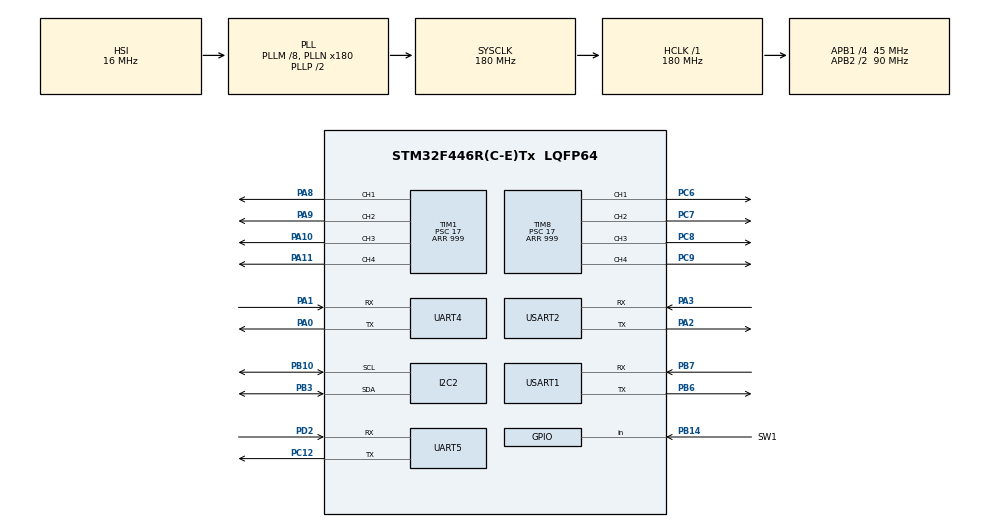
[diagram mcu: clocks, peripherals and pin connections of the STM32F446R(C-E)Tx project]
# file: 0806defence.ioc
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Mcu.Family=STM32F4
Mcu.Name=STM32F446R(C-E)Tx
Mcu.Package=LQFP64
NVIC.PriorityGroup=NVIC_PRIORITYGROUP_4
NVIC.TIM1_BRK_TIM9_IRQn=true\:0\:0\:false\:false\:true\:true\:true\:true
NVIC.TIM1_CC_IRQn=true\:0\:0\:false\:false\:true\:true\:true\:true
NVIC.TIM1_TRG_COM_TIM11_IRQn=true\:0\:0\:false\:false\:true\:true\:true\:true
NVIC.TIM1_UP_TIM10_IRQn=true\:0\:0\:false\:false\:true\:true\:true\:true
NVIC.TIM8_BRK_TIM12_IRQn=true\:0\:0\:false\:false\:true\:true\:true\:true
NVIC.TIM8_CC_IRQn=true\:0\:0\:false\:false\:true\:true\:true\:true
NVIC.TIM8_TRG_COM_TIM14_IRQn=true\:0\:0\:false\:false\:true\:true\:true\:true
NVIC.TIM8_UP_TIM13_IRQn=true\:0\:0\:false\:false\:true\:true\:true\:true
NVIC.UART4_IRQn=true\:0\:0\:false\:false\:true\:true\:true\:true
NVIC.UART5_IRQn=true\:0\:0\:false\:false\:true\:true\:true\:true
NVIC.USART1_IRQn=true\:0\:0\:false\:false\:true\:true\:true\:true
NVIC.USART2_IRQn=true\:0\:0\:false\:false\:true\:true\:true\:true
PA0-WKUP.Mode=Asynchronous
PA0-WKUP.Signal=UART4_TX
PA1.Mode=Asynchronous
PA1.Signal=UART4_RX
PA10.Signal=S_TIM1_CH3
PA11.Signal=S_TIM1_CH4
PA2.Mode=Asynchronous
PA2.Signal=USART2_TX
PA3.Mode=Asynchronous
PA3.Signal=USART2_RX
PA8.Signal=S_TIM1_CH1
PA9.Signal=S_TIM1_CH2
PB10.Mode=I2C
PB10.Signal=I2C2_SCL
PB14.GPIO_Label=SW1
PB14.Signal=GPIO_Input
PB3.Mode=I2C
PB3.Signal=I2C2_SDA
PB6.Mode=Asynchronous
PB6.Signal=USART1_TX
PB7.Mode=Asynchronous
PB7.Signal=USART1_RX
PC12.Mode=Asynchronous
PC12.Signal=UART5_TX
PC6.Signal=S_TIM8_CH1
PC7.Signal=S_TIM8_CH2
PC8.Signal=S_TIM8_CH3
PC9.Signal=S_TIM8_CH4
PD2.Mode=Asynchronous
PD2.Signal=UART5_RX
ProjectManager.HeapSize=0x200
ProjectManager.StackSize=0x400
ProjectManager.TargetToolchain=STM32CubeIDE
RCC.AHBFreq_Value=180000000
RCC.APB1CLKDivider=RCC_HCLK_DIV4
RCC.APB1Freq_Value=45000000
RCC.APB1TimFreq_Value=90000000
RCC.APB2CLKDivider=RCC_HCLK_DIV2
RCC.APB2Freq_Value=90000000
RCC.APB2TimFreq_Value=180000000
RCC.CortexFreq_Value=180000000
RCC.HCLKFreq_Value=180000000
RCC.PLLM=8
RCC.PLLN=180
RCC.SYSCLKFreq_VALUE=180000000
RCC.SYSCLKSource=RCC_SYSCLKSOURCE_PLLCLK
RCC.USBFreq_Value=180000000
RCC.VCOOutputFreq_Value=360000000
SH.S_TIM1_CH1.0=TIM1_CH1,PWM Generation1 CH1
SH.S_TIM1_CH2.0=TIM1_CH2,PWM Generation2 CH2
SH.S_TIM1_CH3.0=TIM1_CH3,PWM Generation3 CH3
SH.S_TIM1_CH4.0=TIM1_CH4,PWM Generation4 CH4
SH.S_TIM8_CH1.0=TIM8_CH1,PWM Generation1 CH1
SH.S_TIM8_CH2.0=TIM8_CH2,PWM Generation2 CH2
SH.S_TIM8_CH3.0=TIM8_CH3,PWM Generation3 CH3
SH.S_TIM8_CH4.0=TIM8_CH4,PWM Generation4 CH4
TIM1.Channel-PWM\ Generation1\ CH1=TIM_CHANNEL_1
TIM1.Channel-PWM\ Generation2\ CH2=TIM_CHANNEL_2
TIM1.Channel-PWM\ Generation3\ CH3=TIM_CHANNEL_3
TIM1.Channel-PWM\ Generation4\ CH4=TIM_CHANNEL_4
TIM1.OC1Preload_PWM=ENABLE
TIM1.Period=999
TIM1.Prescaler=17
TIM8.Channel-PWM\ Generation1\ CH1=TIM_CHANNEL_1
TIM8.Channel-PWM\ Generation2\ CH2=TIM_CHANNEL_2
TIM8.Channel-PWM\ Generation3\ CH3=TIM_CHANNEL_3
TIM8.Channel-PWM\ Generation4\ CH4=TIM_CHANNEL_4
TIM8.Period=999
TIM8.Prescaler=17
UART4.VirtualMode=Asynchronous
UART5.VirtualMode=Asynchronous
USART1.VirtualMode=VM_ASYNC
USART2.VirtualMode=VM_ASYNC
VP_TIM1_VS_ClockSourceINT.Mode=Internal
VP_TIM8_VS_ClockSourceINT.Mode=Internal
board=custom

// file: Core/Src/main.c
/* USER CODE BEGIN Header */
/**
  ******************************************************************************
  * @file           : main.c
  * @brief          : Main program body (Auto-Calibration & Fast Loop Version)
  ******************************************************************************
  */
/* USER CODE END Header */
#include "main.h"

/* USER CODE BEGIN Includes */
#include <stdio.h>  // 💡 これが不足していたため snprintf でフリーズしていました
#include <math.h>
#include <string.h>
#include <stdlib.h>
#include "motor.h"
#include "sensor.h"
#include "defense.h"
/* USER CODE END Includes */

I2C_HandleTypeDef hi2c2;

TIM_HandleTypeDef htim1;
TIM_HandleTypeDef htim8;

UART_HandleTypeDef huart4;
UART_HandleTypeDef huart5;
UART_HandleTypeDef huart1;
UART_HandleTypeDef huart2;

/* USER CODE BEGIN PV */
uint8_t sw_running = 0; // 0:停止(デバッグ出力あり), 1:動作中(デバッグ出力なし)
static uint8_t sw_prev    = 0;

//volatile uint8_t  line_detected_count = 0;

// センサーファイル(sensor.c)から参照する外部変数
extern volatile uint8_t  line_calib_state;
extern volatile float    ball_angle;
extern volatile float    ball_strength;
extern volatile uint8_t  line_on_line;
extern volatile float    line_angle;
extern volatile uint16_t line_sensor_bits;
extern volatile uint8_t  goal_blue_detected;
extern volatile float    goal_blue_angle;
extern volatile uint8_t  goal_yellow_detected;
extern volatile float    goal_yellow_angle;

extern volatile uint8_t  line_cluster_count;
extern volatile float    line_cluster_angle[2];
extern volatile uint8_t  line_cluster_side[2];

extern volatile float    line_primary_angle;
extern volatile uint8_t  line_is_transitioning;
extern volatile uint8_t  line_was_transitioning;  // 💡追加：sticky版
extern volatile uint16_t line_packet_count;       // 💡追加：100ms間の実パケット受信数
/* USER CODE END PV */

void SystemClock_Config(void);
static void MX_GPIO_Init(void);
static void MX_TIM1_Init(void);
static void MX_TIM8_Init(void);
static void MX_UART4_Init(void);
static void MX_USART1_UART_Init(void);
static void MX_I2C2_Init(void);
static void MX_UART5_Init(void);
static void MX_USART2_UART_Init(void);
/* USER CODE BEGIN PFP */
void BNO055_Init(void);
void Sensor_InitYawOffset(void);
void Sensor_Update(void);
float Sensor_GetOmega(float goal_angle, uint8_t goal_detected);
void Defense_Update(float omega);
void Omni_Drive(float angle, float speed, float omega);
float BNO055_GetYaw(void);
void Sensor_ResetYawOnly(void);
void Sensor_ResumeLineRx(void);
/* USER CODE END PFP */

int main(void)
{

  /* MCU Configuration--------------------------------------------------------*/

  /* Reset of all peripherals, Initializes the Flash interface and the Systick. */
  HAL_Init();

  /* Configure the system clock */
  SystemClock_Config();

  /* Initialize all configured peripherals */
  MX_GPIO_Init();
  MX_TIM1_Init();
  MX_TIM8_Init();
  MX_UART4_Init();
  MX_USART1_UART_Init();
  MX_I2C2_Init();
  MX_UART5_Init();
  MX_USART2_UART_Init();
  /* USER CODE BEGIN 2 */
    HAL_TIM_PWM_Start(&htim1, TIM_CHANNEL_1);
    HAL_TIM_PWM_Start(&htim1, TIM_CHANNEL_2);
    HAL_TIM_PWM_Start(&htim1, TIM_CHANNEL_3);
    HAL_TIM_PWM_Start(&htim1, TIM_CHANNEL_4);
    HAL_TIM_PWM_Start(&htim8, TIM_CHANNEL_1);
    HAL_TIM_PWM_Start(&htim8, TIM_CHANNEL_2);
    HAL_TIM_PWM_Start(&htim8, TIM_CHANNEL_3);
    HAL_TIM_PWM_Start(&htim8, TIM_CHANNEL_4);

    BNO055_Init();
    Sensor_InitYawOffset();

    // 起動時にボタン(PB14)が押されていたら自動調整を開始
    if (HAL_GPIO_ReadPin(GPIOB, GPIO_PIN_14) == GPIO_PIN_SET)
    {
        HAL_UART_Transmit(&huart4, (uint8_t*)">> STARTING MULTI-CALIBRATION <<\r\n", 35, 100);

        uint32_t last_log = 0;
        uint32_t sync_timeout = 0;

        // フェーズ1：黒面サンプリング
        HAL_UART_Transmit(&huart4, (uint8_t*)"[PHASE 1] Sampling BLACK... Keep on Black Floor.\r\n", 50, 100);
        HAL_UART_Transmit(&huart2, (uint8_t*)"CALIB AUTO BLACK\n", 17, 10);

        sync_timeout = HAL_GetTick();
        while (line_calib_state != 1)
        {
            Sensor_Update();
            if (HAL_GetTick() - sync_timeout > 1000) {
                HAL_UART_Transmit(&huart2, (uint8_t*)"CALIB AUTO BLACK\n", 17, 10);
                Sensor_ResumeLineRx();
                sync_timeout = HAL_GetTick();
            }
            HAL_Delay(5);
        }

        last_log = 0;
        while (line_calib_state == 1 || line_calib_state == 0)
        {
            Omni_Drive(0.0f, 0.0f, 0.0f);
            Sensor_ResetYawOnly();
            Sensor_Update();

            uint32_t current_time = HAL_GetTick();
            if (current_time - last_log > 500) {
                last_log = current_time;
                char lmsg[128];
                snprintf(lmsg, sizeof(lmsg), "... Line Sensor Sampling BLACK (State: %d) ...\r\n", line_calib_state);
                HAL_UART_Transmit(&huart4, (uint8_t*)lmsg, strlen(lmsg), 100);
            }
            HAL_Delay(5);
        }

        // フェーズ2：移動猶予（ロボットを白線へ）
        HAL_UART_Transmit(&huart4, (uint8_t*)"[PHASE 2] BLACK Done! -> MOVE TO WHITE LINE NOW.\r\n", 50, 100);
        HAL_UART_Transmit(&huart4, (uint8_t*)"👉 Press Button AGAIN when robot is on White Line! 👈\r\n", 57, 100);

        HAL_Delay(300);
        while (HAL_GPIO_ReadPin(GPIOB, GPIO_PIN_14) == GPIO_PIN_SET) {
            Sensor_Update();
            HAL_Delay(10);
        }

        last_log = 0;
        uint8_t white_triggered = 0;

        while (line_calib_state == 2)
        {
            Omni_Drive(0.0f, 0.0f, 0.0f);
            Sensor_Update();

            uint32_t current_time = HAL_GetTick();

            if (HAL_GPIO_ReadPin(GPIOB, GPIO_PIN_14) == GPIO_PIN_SET && !white_triggered)
            {
                HAL_Delay(50);
                if (HAL_GPIO_ReadPin(GPIOB, GPIO_PIN_14) == GPIO_PIN_SET)
                {
                    HAL_UART_Transmit(&huart2, (uint8_t*)"CALIB AUTO WHITE\n", 17, 10);
                    HAL_UART_Transmit(&huart4, (uint8_t*)"[MAIN] Sent CALIB AUTO WHITE! Waiting for Link...\r\n", 51, 100);
                    white_triggered = 1;

                    sync_timeout = HAL_GetTick();
                    while (line_calib_state != 3)
                    {
                        Sensor_Update();
                        if (HAL_GetTick() - sync_timeout > 1000) {
                            HAL_UART_Transmit(&huart2, (uint8_t*)"CALIB AUTO WHITE\n", 17, 10);
                            Sensor_ResumeLineRx();
                            sync_timeout = HAL_GetTick();
                        }
                        HAL_Delay(5);
                    }
                }
            }

            if (current_time - last_log > 500 && !white_triggered) {
                last_log = current_time;
                char lmsg[128];
                snprintf(lmsg, sizeof(lmsg), "... Waiting WHITE Trigger (State: %d) ...\r\n", line_calib_state);
                HAL_UART_Transmit(&huart4, (uint8_t*)lmsg, strlen(lmsg), 100);
            }
            HAL_Delay(5);
        }

        // フェーズ3：白線サンプリング
        HAL_UART_Transmit(&huart4, (uint8_t*)"[PHASE 3] Sampling WHITE... Keep Robot Still!\r\n", 48, 100);

        last_log = 0;
        while (line_calib_state == 3)
        {
            Omni_Drive(0.0f, 0.0f, 0.0f);
            Sensor_Update();

            uint32_t current_time = HAL_GetTick();
            if (current_time - last_log > 500) {
                last_log = current_time;
                char lmsg[128];
                snprintf(lmsg, sizeof(lmsg), "... Line Sensor Sampling WHITE (State: %d) ...\r\n", line_calib_state);
                HAL_UART_Transmit(&huart4, (uint8_t*)lmsg, strlen(lmsg), 100);
            }
            HAL_Delay(5);
        }

        HAL_UART_Transmit(&huart2, (uint8_t*)"CALIB SAVE\n", 11, 10);
        HAL_Delay(200);

        HAL_UART_Transmit(&huart4, (uint8_t*)">> All Calibrations Successfully Saved! <<\r\n", 44, 100);

        HAL_Delay(500);
        sw_prev = 0;
        sw_running = 0;
    }

    // 受信開始処理とデバッグタイマー初期化
    Sensor_ResumeLineRx();
    uint32_t last_debug_tick = 0;
  /* USER CODE END 2 */

    /* Infinite loop */
      /* USER CODE BEGIN WHILE */
          while (1)
          {
                // 🚨【重要】文字化けノイズによるUARTフリーズを強制解除する処理
                if (__HAL_UART_GET_FLAG(&huart4, UART_FLAG_ORE) != RESET) {
                    __HAL_UART_CLEAR_OREFLAG(&huart4);
                }
                if (__HAL_UART_GET_FLAG(&huart2, UART_FLAG_ORE) != RESET) {
                    __HAL_UART_CLEAR_OREFLAG(&huart2);
                }

                // 1. スイッチのチャタリング防止とモード切替
                uint8_t sw_state = HAL_GPIO_ReadPin(GPIOB, GPIO_PIN_14);
                if (sw_state == GPIO_PIN_SET && sw_prev == GPIO_PIN_RESET)
                {
                    HAL_Delay(50);
                    if (HAL_GPIO_ReadPin(GPIOB, GPIO_PIN_14) == GPIO_PIN_SET)
                    {
                        sw_running = !sw_running;

                        char sw_msg[64];
                        snprintf(sw_msg, sizeof(sw_msg), ">>> MODE CHANGED: %s <<<\r\n", sw_running ? "RUN" : "STOP");
                        HAL_UART_Transmit(&huart4, (uint8_t*)sw_msg, strlen(sw_msg), 100);
                    }
                }
                sw_prev = sw_state;

                // 2. センサー値の更新
                Sensor_Update();

                // 3. 姿勢制御 omega の計算
                // キーパーは常にフィールド正面（起動時のヨー基準）を向き続ける
                float omega = Sensor_GetOmega(0.0f, 1);

                // 4. モーターへの出力命令
                if (sw_running == 1)
                {
                    Defense_Update(omega);
                }
                else
                {
                    Omni_Drive(0.0f, 0.0f, 0.0f);
                }

                // 5. 100ms周期でデバッグ出力を実行（RUN/STOP両方で出す）
                {
                    uint32_t current_tick = HAL_GetTick();
                    if (current_tick - last_debug_tick >= 100)
                    {
                        last_debug_tick = current_tick;
                        char tx_out[256];
                        int len = 0;

                        float gyro_yaw = BNO055_GetYaw();

                        // 💡 IRセンサ表示の整形（非検知時は 0.0 と明示）
                        char ir_ang_str[8];
                        char ir_str_str[8];
                        if (ball_detected) {
                            snprintf(ir_ang_str, sizeof(ir_ang_str), "%6.1f", ball_angle);
                            snprintf(ir_str_str, sizeof(ir_str_str), "%5.1f", ball_strength);
                        } else {
                            snprintf(ir_ang_str, sizeof(ir_ang_str), "   0.0");
                            snprintf(ir_str_str, sizeof(ir_str_str), "  0.0");
                        }

                        char line_ang_str[8];
                        if (line_on_line) {
                            snprintf(line_ang_str, sizeof(line_ang_str), "%6.1f", line_angle);
                        } else {
                            snprintf(line_ang_str, sizeof(line_ang_str), "  NONE");
                        }

                        char line_bits_str[17];
                        for (int i = 0; i < 16; i++) {
                            line_bits_str[i] = (line_sensor_bits & (1u << i)) ? '1' : '0';
                        }
                        line_bits_str[16] = '\0';

                        len += snprintf(tx_out + len, sizeof(tx_out) - len,
                                                                "[%s] IR_Ang:%s | IR_Str:%s | Yaw:%6.1f | Line_Ang:%s | Line:[%s] | Prim:%6.1f Trans:%u TransSticky:%u Pkts:%u\r\n",
                                                                sw_running ? "RUN  " : "STOP ",
                                                                ir_ang_str, ir_str_str, gyro_yaw, line_ang_str, line_bits_str,
                                                                line_primary_angle, line_is_transitioning,
                                                                line_was_transitioning, line_packet_count);

                        HAL_UART_Transmit(&huart4, (uint8_t *)tx_out, len, 100);

                        // 💡【追加】次の100ms区間の計測のためにリセット
                        line_was_transitioning = 0;
                        line_packet_count      = 0;
                    }
                }

                // 💡【重要】センサーICのフリーズを防ぐため、最低限の休憩を挟む
                HAL_Delay(5);
          }
        /* USER CODE END WHILE */

  }

void SystemClock_Config(void)
{
  RCC_OscInitTypeDef RCC_OscInitStruct = {0};
  RCC_ClkInitTypeDef RCC_ClkInitStruct = {0};

  /** Configure the main internal regulator output voltage
  */
  __HAL_RCC_PWR_CLK_ENABLE();
  __HAL_PWR_VOLTAGESCALING_CONFIG(PWR_REGULATOR_VOLTAGE_SCALE1);

  /** Initializes the RCC Oscillators according to the specified parameters
  * in the RCC_OscInitTypeDef structure.
  */
  RCC_OscInitStruct.OscillatorType = RCC_OSCILLATORTYPE_HSI;
  RCC_OscInitStruct.HSIState = RCC_HSI_ON;
  RCC_OscInitStruct.HSICalibrationValue = RCC_HSICALIBRATION_DEFAULT;
  RCC_OscInitStruct.PLL.PLLState = RCC_PLL_ON;
  RCC_OscInitStruct.PLL.PLLSource = RCC_PLLSOURCE_HSI;
  RCC_OscInitStruct.PLL.PLLM = 8;
  RCC_OscInitStruct.PLL.PLLN = 180;
  RCC_OscInitStruct.PLL.PLLP = RCC_PLLP_DIV2;
  RCC_OscInitStruct.PLL.PLLQ = 2;
  RCC_OscInitStruct.PLL.PLLR = 2;
  if (HAL_RCC_OscConfig(&RCC_OscInitStruct) != HAL_OK)
  {
    Error_Handler();
  }

  /** Activate the Over-Drive mode
  */
  if (HAL_PWREx_EnableOverDrive() != HAL_OK)
  {
    Error_Handler();
  }

  /** Initializes the CPU, AHB and APB buses clocks
  */
  RCC_ClkInitStruct.ClockType = RCC_CLOCKTYPE_HCLK|RCC_CLOCKTYPE_SYSCLK
                              |RCC_CLOCKTYPE_PCLK1|RCC_CLOCKTYPE_PCLK2;
  RCC_ClkInitStruct.SYSCLKSource = RCC_SYSCLKSOURCE_PLLCLK;
  RCC_ClkInitStruct.AHBCLKDivider = RCC_SYSCLK_DIV1;
  RCC_ClkInitStruct.APB1CLKDivider = RCC_HCLK_DIV4;
  RCC_ClkInitStruct.APB2CLKDivider = RCC_HCLK_DIV2;

  if (HAL_RCC_ClockConfig(&RCC_ClkInitStruct, FLASH_LATENCY_5) != HAL_OK)
  {
    Error_Handler();
  }
}

static void MX_I2C2_Init(void)
{

  hi2c2.Instance = I2C2;
  hi2c2.Init.ClockSpeed = 100000;
  hi2c2.Init.DutyCycle = I2C_DUTYCYCLE_2;
  hi2c2.Init.OwnAddress1 = 0;
  hi2c2.Init.AddressingMode = I2C_ADDRESSINGMODE_7BIT;
  hi2c2.Init.DualAddressMode = I2C_DUALADDRESS_DISABLE;
  hi2c2.Init.OwnAddress2 = 0;
  hi2c2.Init.GeneralCallMode = I2C_GENERALCALL_DISABLE;
  hi2c2.Init.NoStretchMode = I2C_NOSTRETCH_DISABLE;
  if (HAL_I2C_Init(&hi2c2) != HAL_OK)
  {
    Error_Handler();
  }

}

static void MX_TIM1_Init(void)
{

  TIM_ClockConfigTypeDef sClockSourceConfig = {0};
  TIM_MasterConfigTypeDef sMasterConfig = {0};
  TIM_OC_InitTypeDef sConfigOC = {0};
  TIM_BreakDeadTimeConfigTypeDef sBreakDeadTimeConfig = {0};

  htim1.Instance = TIM1;
  htim1.Init.Prescaler = 17;
  htim1.Init.CounterMode = TIM_COUNTERMODE_UP;
  htim1.Init.Period = 999;
  htim1.Init.ClockDivision = TIM_CLOCKDIVISION_DIV1;
  htim1.Init.RepetitionCounter = 0;
  htim1.Init.AutoReloadPreload = TIM_AUTORELOAD_PRELOAD_DISABLE;
  if (HAL_TIM_Base_Init(&htim1) != HAL_OK)
  {
    Error_Handler();
  }
  sClockSourceConfig.ClockSource = TIM_CLOCKSOURCE_INTERNAL;
  if (HAL_TIM_ConfigClockSource(&htim1, &sClockSourceConfig) != HAL_OK)
  {
    Error_Handler();
  }
  if (HAL_TIM_PWM_Init(&htim1) != HAL_OK)
  {
    Error_Handler();
  }
  sMasterConfig.MasterOutputTrigger = TIM_TRGO_RESET;
  sMasterConfig.MasterSlaveMode = TIM_MASTERSLAVEMODE_DISABLE;
  if (HAL_TIMEx_MasterConfigSynchronization(&htim1, &sMasterConfig) != HAL_OK)
  {
    Error_Handler();
  }
  sConfigOC.OCMode = TIM_OCMODE_PWM1;
  sConfigOC.Pulse = 0;
  sConfigOC.OCPolarity = TIM_OCPOLARITY_HIGH;
  sConfigOC.OCNPolarity = TIM_OCNPOLARITY_HIGH;
  sConfigOC.OCFastMode = TIM_OCFAST_DISABLE;
  sConfigOC.OCIdleState = TIM_OCIDLESTATE_RESET;
  sConfigOC.OCNIdleState = TIM_OCNIDLESTATE_RESET;
  if (HAL_TIM_PWM_ConfigChannel(&htim1, &sConfigOC, TIM_CHANNEL_1) != HAL_OK)
  {
    Error_Handler();
  }
  if (HAL_TIM_PWM_ConfigChannel(&htim1, &sConfigOC, TIM_CHANNEL_2) != HAL_OK)
  {
    Error_Handler();
  }
  if (HAL_TIM_PWM_ConfigChannel(&htim1, &sConfigOC, TIM_CHANNEL_3) != HAL_OK)
  {
    Error_Handler();
  }
  if (HAL_TIM_PWM_ConfigChannel(&htim1, &sConfigOC, TIM_CHANNEL_4) != HAL_OK)
  {
    Error_Handler();
  }
  sBreakDeadTimeConfig.OffStateRunMode = TIM_OSSR_DISABLE;
  sBreakDeadTimeConfig.OffStateIDLEMode = TIM_OSSI_DISABLE;
  sBreakDeadTimeConfig.LockLevel = TIM_LOCKLEVEL_OFF;
  sBreakDeadTimeConfig.DeadTime = 0;
  sBreakDeadTimeConfig.BreakState = TIM_BREAK_DISABLE;
  sBreakDeadTimeConfig.BreakPolarity = TIM_BREAKPOLARITY_HIGH;
  sBreakDeadTimeConfig.AutomaticOutput = TIM_AUTOMATICOUTPUT_DISABLE;
  if (HAL_TIMEx_ConfigBreakDeadTime(&htim1, &sBreakDeadTimeConfig) != HAL_OK)
  {
    Error_Handler();
  }
  HAL_TIM_MspPostInit(&htim1);

}

static void MX_TIM8_Init(void)
{

  TIM_ClockConfigTypeDef sClockSourceConfig = {0};
  TIM_MasterConfigTypeDef sMasterConfig = {0};
  TIM_OC_InitTypeDef sConfigOC = {0};
  TIM_BreakDeadTimeConfigTypeDef sBreakDeadTimeConfig = {0};

  htim8.Instance = TIM8;
  htim8.Init.Prescaler = 17;
  htim8.Init.CounterMode = TIM_COUNTERMODE_UP;
  htim8.Init.Period = 999;
  htim8.Init.ClockDivision = TIM_CLOCKDIVISION_DIV1;
  htim8.Init.RepetitionCounter = 0;
  htim8.Init.AutoReloadPreload = TIM_AUTORELOAD_PRELOAD_DISABLE;
  if (HAL_TIM_Base_Init(&htim8) != HAL_OK)
  {
    Error_Handler();
  }
  sClockSourceConfig.ClockSource = TIM_CLOCKSOURCE_INTERNAL;
  if (HAL_TIM_ConfigClockSource(&htim8, &sClockSourceConfig) != HAL_OK)
  {
    Error_Handler();
  }
  if (HAL_TIM_PWM_Init(&htim8) != HAL_OK)
  {
    Error_Handler();
  }
  sMasterConfig.MasterOutputTrigger = TIM_TRGO_RESET;
  sMasterConfig.MasterSlaveMode = TIM_MASTERSLAVEMODE_DISABLE;
  if (HAL_TIMEx_MasterConfigSynchronization(&htim8, &sMasterConfig) != HAL_OK)
  {
    Error_Handler();
  }
  sConfigOC.OCMode = TIM_OCMODE_PWM1;
  sConfigOC.Pulse = 0;
  sConfigOC.OCPolarity = TIM_OCPOLARITY_HIGH;
  sConfigOC.OCNPolarity = TIM_OCNPOLARITY_HIGH;
  sConfigOC.OCFastMode = TIM_OCFAST_DISABLE;
  sConfigOC.OCIdleState = TIM_OCIDLESTATE_RESET;
  sConfigOC.OCNIdleState = TIM_OCNIDLESTATE_RESET;
  if (HAL_TIM_PWM_ConfigChannel(&htim8, &sConfigOC, TIM_CHANNEL_1) != HAL_OK)
  {
    Error_Handler();
  }
  if (HAL_TIM_PWM_ConfigChannel(&htim8, &sConfigOC, TIM_CHANNEL_2) != HAL_OK)
  {
    Error_Handler();
  }
  if (HAL_TIM_PWM_ConfigChannel(&htim8, &sConfigOC, TIM_CHANNEL_3) != HAL_OK)
  {
    Error_Handler();
  }
  if (HAL_TIM_PWM_ConfigChannel(&htim8, &sConfigOC, TIM_CHANNEL_4) != HAL_OK)
  {
    Error_Handler();
  }
  sBreakDeadTimeConfig.OffStateRunMode = TIM_OSSR_DISABLE;
  sBreakDeadTimeConfig.OffStateIDLEMode = TIM_OSSI_DISABLE;
  sBreakDeadTimeConfig.LockLevel = TIM_LOCKLEVEL_OFF;
  sBreakDeadTimeConfig.DeadTime = 0;
  sBreakDeadTimeConfig.BreakState = TIM_BREAK_DISABLE;
  sBreakDeadTimeConfig.BreakPolarity = TIM_BREAKPOLARITY_HIGH;
  sBreakDeadTimeConfig.AutomaticOutput = TIM_AUTOMATICOUTPUT_DISABLE;
  if (HAL_TIMEx_ConfigBreakDeadTime(&htim8, &sBreakDeadTimeConfig) != HAL_OK)
  {
    Error_Handler();
  }
  HAL_TIM_MspPostInit(&htim8);

}

static void MX_UART4_Init(void)
{

  huart4.Instance = UART4;
  huart4.Init.BaudRate = 115200;
  huart4.Init.WordLength = UART_WORDLENGTH_8B;
  huart4.Init.StopBits = UART_STOPBITS_1;
  huart4.Init.Parity = UART_PARITY_NONE;
  huart4.Init.Mode = UART_MODE_TX_RX;
  huart4.Init.HwFlowCtl = UART_HWCONTROL_NONE;
  huart4.Init.OverSampling = UART_OVERSAMPLING_16;
  if (HAL_UART_Init(&huart4) != HAL_OK)
  {
    Error_Handler();
  }

}

static void MX_UART5_Init(void)
{

  huart5.Instance = UART5;
  huart5.Init.BaudRate = 115200;
  huart5.Init.WordLength = UART_WORDLENGTH_8B;
  huart5.Init.StopBits = UART_STOPBITS_1;
  huart5.Init.Parity = UART_PARITY_NONE;
  huart5.Init.Mode = UART_MODE_TX_RX;
  huart5.Init.HwFlowCtl = UART_HWCONTROL_NONE;
  huart5.Init.OverSampling = UART_OVERSAMPLING_16;
  if (HAL_UART_Init(&huart5) != HAL_OK)
  {
    Error_Handler();
  }

}

static void MX_USART1_UART_Init(void)
{

  huart1.Instance = USART1;
  huart1.Init.BaudRate = 115200;
  huart1.Init.WordLength = UART_WORDLENGTH_8B;
  huart1.Init.StopBits = UART_STOPBITS_1;
  huart1.Init.Parity = UART_PARITY_NONE;
  huart1.Init.Mode = UART_MODE_TX_RX;
  huart1.Init.HwFlowCtl = UART_HWCONTROL_NONE;
  huart1.Init.OverSampling = UART_OVERSAMPLING_16;
  if (HAL_UART_Init(&huart1) != HAL_OK)
  {
    Error_Handler();
  }

}

static void MX_USART2_UART_Init(void)
{

  huart2.Instance = USART2;
  huart2.Init.BaudRate = 115200;
  huart2.Init.WordLength = UART_WORDLENGTH_8B;
  huart2.Init.StopBits = UART_STOPBITS_1;
  huart2.Init.Parity = UART_PARITY_NONE;
  huart2.Init.Mode = UART_MODE_TX_RX;
  huart2.Init.HwFlowCtl = UART_HWCONTROL_NONE;
  huart2.Init.OverSampling = UART_OVERSAMPLING_16;
  if (HAL_UART_Init(&huart2) != HAL_OK)
  {
    Error_Handler();
  }

}

static void MX_GPIO_Init(void)
{
  GPIO_InitTypeDef GPIO_InitStruct = {0};

  /* GPIO Ports Clock Enable */
  __HAL_RCC_GPIOA_CLK_ENABLE();
  __HAL_RCC_GPIOB_CLK_ENABLE();
  __HAL_RCC_GPIOC_CLK_ENABLE();
  __HAL_RCC_GPIOD_CLK_ENABLE();

  /*Configure GPIO pin : SW1_Pin */
  GPIO_InitStruct.Pin = SW1_Pin;
  GPIO_InitStruct.Mode = GPIO_MODE_INPUT;
  GPIO_InitStruct.Pull = GPIO_NOPULL;
  HAL_GPIO_Init(SW1_GPIO_Port, &GPIO_InitStruct);

}

void Error_Handler(void)
{
  __disable_irq();
  while (1)
  {
  }
}
